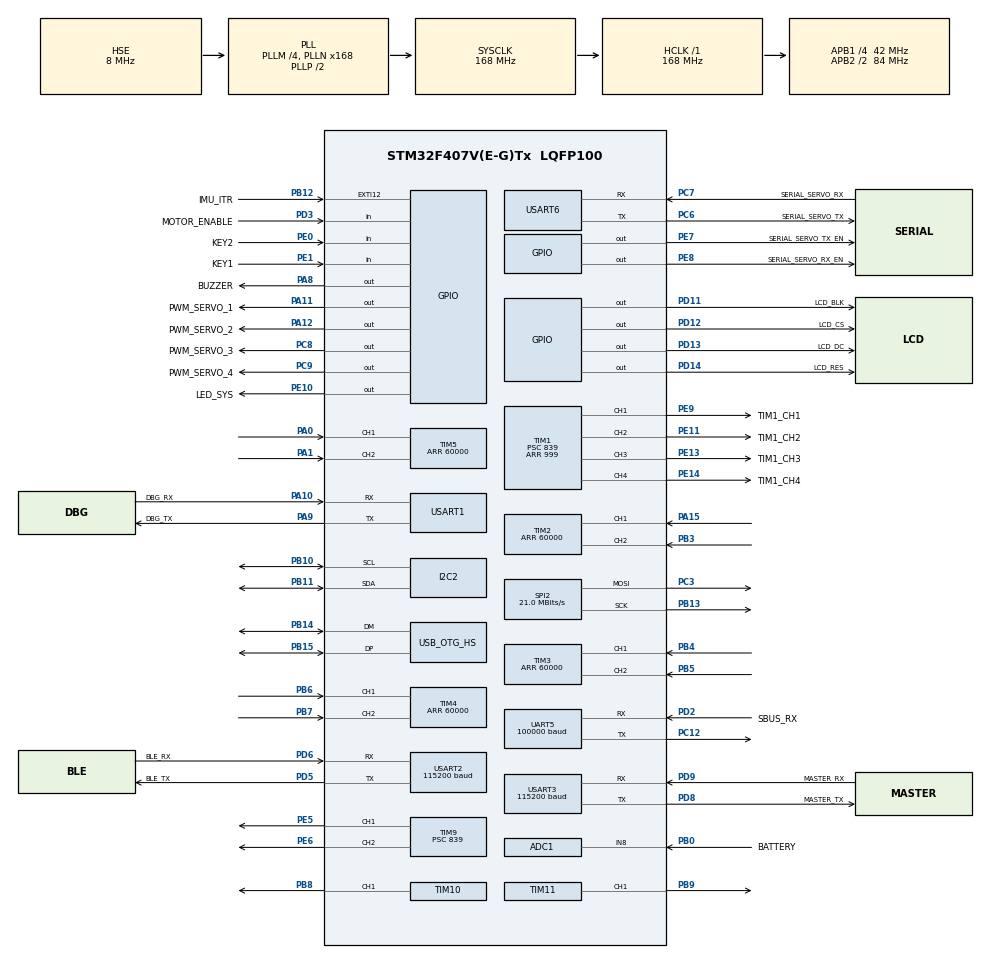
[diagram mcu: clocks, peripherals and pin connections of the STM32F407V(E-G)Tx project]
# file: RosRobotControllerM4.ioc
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ADC1.Channel-4\#ChannelRegularConversion=ADC_CHANNEL_VREFINT
ADC1.Channel-5\#ChannelRegularConversion=ADC_CHANNEL_8
ADC1.ClockPrescaler=ADC_CLOCK_SYNC_PCLK_DIV8
ADC1.ContinuousConvMode=DISABLE
ADC1.EOCSelection=ADC_EOC_SEQ_CONV
ADC1.NbrOfConversion=2
ADC1.NbrOfConversionFlag=1
ADC1.Rank-4\#ChannelRegularConversion=1
ADC1.Rank-5\#ChannelRegularConversion=2
ADC1.SamplingTime-4\#ChannelRegularConversion=ADC_SAMPLETIME_480CYCLES
ADC1.SamplingTime-5\#ChannelRegularConversion=ADC_SAMPLETIME_480CYCLES
ADC1.master=1
Dma.ADC1.7.Direction=DMA_PERIPH_TO_MEMORY
Dma.ADC1.7.FIFOMode=DMA_FIFOMODE_DISABLE
Dma.ADC1.7.Instance=DMA2_Stream0
Dma.ADC1.7.MemDataAlignment=DMA_MDATAALIGN_HALFWORD
Dma.ADC1.7.MemInc=DMA_MINC_ENABLE
Dma.ADC1.7.Mode=DMA_CIRCULAR
Dma.ADC1.7.PeriphDataAlignment=DMA_PDATAALIGN_HALFWORD
Dma.ADC1.7.PeriphInc=DMA_PINC_DISABLE
Dma.ADC1.7.Priority=DMA_PRIORITY_LOW
Dma.I2C2_RX.0.Direction=DMA_PERIPH_TO_MEMORY
Dma.I2C2_RX.0.FIFOMode=DMA_FIFOMODE_DISABLE
Dma.I2C2_RX.0.Instance=DMA1_Stream2
Dma.I2C2_RX.0.MemDataAlignment=DMA_MDATAALIGN_BYTE
Dma.I2C2_RX.0.MemInc=DMA_MINC_ENABLE
Dma.I2C2_RX.0.Mode=DMA_NORMAL
Dma.I2C2_RX.0.PeriphDataAlignment=DMA_PDATAALIGN_BYTE
Dma.I2C2_RX.0.PeriphInc=DMA_PINC_DISABLE
Dma.I2C2_RX.0.Priority=DMA_PRIORITY_VERY_HIGH
Dma.I2C2_TX.1.Direction=DMA_MEMORY_TO_PERIPH
Dma.I2C2_TX.1.FIFOMode=DMA_FIFOMODE_DISABLE
Dma.I2C2_TX.1.Instance=DMA1_Stream7
Dma.I2C2_TX.1.MemDataAlignment=DMA_MDATAALIGN_BYTE
Dma.I2C2_TX.1.MemInc=DMA_MINC_ENABLE
Dma.I2C2_TX.1.Mode=DMA_NORMAL
Dma.I2C2_TX.1.PeriphDataAlignment=DMA_PDATAALIGN_BYTE
Dma.I2C2_TX.1.PeriphInc=DMA_PINC_DISABLE
Dma.I2C2_TX.1.Priority=DMA_PRIORITY_VERY_HIGH
Dma.Request0=I2C2_RX
Dma.Request1=I2C2_TX
Dma.Request2=USART3_RX
Dma.Request3=USART3_TX
Dma.Request4=SPI2_TX
Dma.Request5=USART2_RX
Dma.Request6=USART2_TX
Dma.Request7=ADC1
Dma.Request8=UART5_RX
Dma.SPI2_TX.4.Direction=DMA_MEMORY_TO_PERIPH
Dma.SPI2_TX.4.FIFOMode=DMA_FIFOMODE_DISABLE
Dma.SPI2_TX.4.Instance=DMA1_Stream4
Dma.SPI2_TX.4.MemDataAlignment=DMA_MDATAALIGN_BYTE
Dma.SPI2_TX.4.MemInc=DMA_MINC_ENABLE
Dma.SPI2_TX.4.Mode=DMA_NORMAL
Dma.SPI2_TX.4.PeriphDataAlignment=DMA_PDATAALIGN_BYTE
Dma.SPI2_TX.4.PeriphInc=DMA_PINC_DISABLE
Dma.SPI2_TX.4.Priority=DMA_PRIORITY_LOW
Dma.UART5_RX.8.Direction=DMA_PERIPH_TO_MEMORY
Dma.UART5_RX.8.FIFOMode=DMA_FIFOMODE_DISABLE
Dma.UART5_RX.8.Instance=DMA1_Stream0
Dma.UART5_RX.8.MemDataAlignment=DMA_MDATAALIGN_BYTE
Dma.UART5_RX.8.MemInc=DMA_MINC_ENABLE
Dma.UART5_RX.8.Mode=DMA_NORMAL
Dma.UART5_RX.8.PeriphDataAlignment=DMA_PDATAALIGN_BYTE
Dma.UART5_RX.8.PeriphInc=DMA_PINC_DISABLE
Dma.UART5_RX.8.Priority=DMA_PRIORITY_MEDIUM
Dma.USART2_RX.5.Direction=DMA_PERIPH_TO_MEMORY
Dma.USART2_RX.5.FIFOMode=DMA_FIFOMODE_DISABLE
Dma.USART2_RX.5.Instance=DMA1_Stream5
Dma.USART2_RX.5.MemDataAlignment=DMA_MDATAALIGN_BYTE
Dma.USART2_RX.5.MemInc=DMA_MINC_ENABLE
Dma.USART2_RX.5.Mode=DMA_NORMAL
Dma.USART2_RX.5.PeriphDataAlignment=DMA_PDATAALIGN_BYTE
Dma.USART2_RX.5.PeriphInc=DMA_PINC_DISABLE
Dma.USART2_RX.5.Priority=DMA_PRIORITY_MEDIUM
Dma.USART2_TX.6.Direction=DMA_MEMORY_TO_PERIPH
Dma.USART2_TX.6.FIFOMode=DMA_FIFOMODE_DISABLE
Dma.USART2_TX.6.Instance=DMA1_Stream6
Dma.USART2_TX.6.MemDataAlignment=DMA_MDATAALIGN_BYTE
Dma.USART2_TX.6.MemInc=DMA_MINC_ENABLE
Dma.USART2_TX.6.Mode=DMA_NORMAL
Dma.USART2_TX.6.PeriphDataAlignment=DMA_PDATAALIGN_BYTE
Dma.USART2_TX.6.PeriphInc=DMA_PINC_DISABLE
Dma.USART2_TX.6.Priority=DMA_PRIORITY_MEDIUM
Dma.USART3_RX.2.Direction=DMA_PERIPH_TO_MEMORY
Dma.USART3_RX.2.FIFOMode=DMA_FIFOMODE_DISABLE
Dma.USART3_RX.2.Instance=DMA1_Stream1
Dma.USART3_RX.2.MemDataAlignment=DMA_MDATAALIGN_BYTE
Dma.USART3_RX.2.MemInc=DMA_MINC_ENABLE
Dma.USART3_RX.2.Mode=DMA_CIRCULAR
Dma.USART3_RX.2.PeriphDataAlignment=DMA_PDATAALIGN_BYTE
Dma.USART3_RX.2.PeriphInc=DMA_PINC_DISABLE
Dma.USART3_RX.2.Priority=DMA_PRIORITY_HIGH
Dma.USART3_TX.3.Direction=DMA_MEMORY_TO_PERIPH
Dma.USART3_TX.3.FIFOMode=DMA_FIFOMODE_DISABLE
Dma.USART3_TX.3.Instance=DMA1_Stream3
Dma.USART3_TX.3.MemDataAlignment=DMA_MDATAALIGN_BYTE
Dma.USART3_TX.3.MemInc=DMA_MINC_ENABLE
Dma.USART3_TX.3.Mode=DMA_NORMAL
Dma.USART3_TX.3.PeriphDataAlignment=DMA_PDATAALIGN_BYTE
Dma.USART3_TX.3.PeriphInc=DMA_PINC_DISABLE
Dma.USART3_TX.3.Priority=DMA_PRIORITY_HIGH
FREERTOS.BinarySemaphores01=packet_tx_idle,Static,packet_tx_ControlBlock;packet_rx_not_empty,Static,packet_rx_not_emptyControlBlock;mpu6050_data_ready,Static,mpu6050_data_readyControlBlock;sbus_data_ready_01_,Static,sbus_data_ready_01_ControlBlock;spi_tx_finished,Static,spi_tx_finishedControlBlock;bluetooth_tx_idle,Static,bluetooth_tx_idleControlBlock;serial_servo_rx_complete,Dynamic,NULL
FREERTOS.Events01=sbus_data_ready_event_,Static,sbus_data_ready_event_ControlBlock
FREERTOS.INCLUDE_vTaskCleanUpResources=1
FREERTOS.INCLUDE_xEventGroupSetBitFromISR=1
FREERTOS.Queues01=packet_tx_queue,64,void*,0,Static,packet_tx_queueBuffer,packet_tx_queueControlBlock;lvgl_event_queue,16,32,1,Dynamic,NULL,NULL;moving_ctrl_queue,32,char,0,Static,moving_ctrl_queueBuffer,moving_ctrl_queueControlBlock;bluetooth_tx_queue,8,8,1,Dynamic,NULL,NULL
FREERTOS.Tasks01=defaultTask,16,256,StartDefaultTask,Default,NULL,Dynamic,NULL,NULL;imu_task,24,256,imu_task_entry,As weak,NULL,Dynamic,NULL,NULL;packet_tx_task,24,256,packet_tx_task_entry,As weak,NULL,Dynamic,NULL,NULL;packet_rx_task,32,256,packet_rx_task_entry,As weak,NULL,Dynamic,NULL,NULL;sbus_rx_task,24,256,sbus_rx_task_entry,As weak,NULL,Dynamic,NULL,NULL;gui_task,8,1500,gui_task_entry,As weak,NULL,Dynamic,NULL,NULL;app_task,24,512,app_task_entry,As weak,NULL,Dynamic,NULL,NULL;bluetooth_task,24,128,bluetooth_task_entry,As weak,NULL,Dynamic,NULL,NULL
FREERTOS.Timers01=button_timer,button_timer_callback,osTimerPeriodic,As weak,NULL,Static,button_timerControlBlock;led_timer,led_timer_callback,osTimerPeriodic,As weak,NULL,Static,led_timerControlBlock;lvgl_timer,lvgl_timer_callback,osTimerPeriodic,As weak,NULL,Static,lvgl_timerControlBlock;buzzer_timer,buzzer_timer_callback,osTimerPeriodic,As weak,NULL,Static,buzzer_timerControlBlock;battery_check_timer,battery_check_timer_callback,osTimerPeriodic,As weak,NULL,Static,battery_check_timerControlBlock
FREERTOS.configENABLE_FPU=1
FREERTOS.configTIMER_QUEUE_LENGTH=10
FREERTOS.configTIMER_TASK_STACK_DEPTH=6144
FREERTOS.configTOTAL_HEAP_SIZE=20480
FREERTOS.configUSE_IDLE_HOOK=1
FREERTOS.configUSE_NEWLIB_REENTRANT=0
FREERTOS.configUSE_TICK_HOOK=1
I2C2.DutyCycle=I2C_DUTYCYCLE_16_9
I2C2.I2C_Mode=I2C_Fast
Mcu.Family=STM32F4
Mcu.Name=STM32F407V(E-G)Tx
Mcu.Package=LQFP100
NVIC.DMA1_Stream0_IRQn=true\:5\:0\:false\:true\:true\:1\:true\:true\:true\:true
NVIC.DMA1_Stream1_IRQn=true\:5\:0\:false\:true\:true\:2\:true\:false\:true\:true
NVIC.DMA1_Stream2_IRQn=true\:5\:0\:false\:true\:true\:3\:true\:false\:true\:true
NVIC.DMA1_Stream3_IRQn=true\:5\:0\:false\:true\:true\:4\:true\:false\:true\:true
NVIC.DMA1_Stream4_IRQn=true\:5\:0\:false\:true\:true\:5\:true\:true\:true\:true
NVIC.DMA1_Stream5_IRQn=true\:5\:0\:false\:true\:true\:6\:true\:true\:true\:true
NVIC.DMA1_Stream6_IRQn=true\:5\:0\:false\:true\:true\:7\:true\:true\:true\:true
NVIC.DMA1_Stream7_IRQn=true\:5\:0\:false\:true\:true\:16\:true\:false\:true\:true
NVIC.EXTI15_10_IRQn=true\:5\:0\:false\:true\:true\:13\:true\:true\:false\:true
NVIC.OTG_HS_IRQn=true\:5\:0\:false\:true\:true\:21\:true\:false\:true\:true
NVIC.PriorityGroup=NVIC_PRIORITYGROUP_4
NVIC.TIM2_IRQn=true\:5\:0\:false\:true\:true\:8\:true\:true\:false\:true
NVIC.TIM3_IRQn=true\:5\:0\:false\:true\:true\:9\:true\:true\:false\:true
NVIC.TIM4_IRQn=true\:5\:0\:false\:true\:true\:10\:true\:true\:false\:true
NVIC.TIM5_IRQn=true\:5\:0\:false\:true\:true\:17\:true\:true\:false\:true
NVIC.TIM7_IRQn=true\:5\:0\:false\:true\:true\:19\:true\:true\:false\:true
NVIC.TIM8_BRK_TIM12_IRQn=true\:5\:0\:false\:true\:true\:14\:true\:true\:false\:true
NVIC.TIM8_TRG_COM_TIM14_IRQn=true\:0\:0\:false\:false\:true\:false\:false\:true\:true
NVIC.TIM8_UP_TIM13_IRQn=true\:5\:0\:false\:true\:true\:15\:true\:true\:false\:true
NVIC.TimeBase=TIM8_TRG_COM_TIM14_IRQn
NVIC.TimeBaseIP=TIM14
NVIC.UART5_IRQn=true\:5\:0\:true\:true\:true\:18\:true\:true\:true\:true
NVIC.USART2_IRQn=true\:5\:0\:false\:true\:true\:11\:true\:true\:true\:true
NVIC.USART3_IRQn=true\:5\:0\:false\:true\:true\:12\:true\:true\:true\:true
NVIC.USART6_IRQn=true\:5\:0\:false\:true\:true\:20\:true\:true\:false\:true
PA0-WKUP.GPIO_PuPd=GPIO_PULLUP
PA0-WKUP.GPIO_Speed=GPIO_SPEED_FREQ_VERY_HIGH
PA0-WKUP.Signal=S_TIM5_CH1
PA1.GPIO_PuPd=GPIO_PULLUP
PA1.GPIO_Speed=GPIO_SPEED_FREQ_VERY_HIGH
PA1.Signal=S_TIM5_CH2
PA10.GPIO_Label=DBG_RX
PA10.Mode=Asynchronous
PA10.Signal=USART1_RX
PA11.GPIO_Label=PWM_SERVO_1
PA11.GPIO_Speed=GPIO_SPEED_FREQ_HIGH
PA11.PinState=GPIO_PIN_RESET
PA11.Signal=GPIO_Output
PA12.GPIO_Label=PWM_SERVO_2
PA12.GPIO_Speed=GPIO_SPEED_FREQ_HIGH
PA12.Signal=GPIO_Output
PA13.Signal=SYS_JTMS-SWDIO
PA14.Signal=SYS_JTCK-SWCLK
PA15.GPIO_PuPd=GPIO_PULLUP
PA15.GPIO_Speed=GPIO_SPEED_FREQ_VERY_HIGH
PA15.Signal=S_TIM2_CH1_ETR
PA8.GPIO_Label=BUZZER
PA8.GPIO_Speed=GPIO_SPEED_FREQ_VERY_HIGH
PA8.PinState=GPIO_PIN_RESET
PA8.Signal=GPIO_Output
PA9.GPIO_Label=DBG_TX
PA9.Mode=Asynchronous
PA9.Signal=USART1_TX
PB0.GPIO_Label=BATTERY
PB0.Signal=ADCx_IN8
PB10.GPIO_Pu=GPIO_PULLUP
PB10.Mode=I2C
PB10.Signal=I2C2_SCL
PB11.GPIO_Pu=GPIO_PULLUP
PB11.Mode=I2C
PB11.Signal=I2C2_SDA
PB12.GPIO_Label=IMU_ITR
PB12.GPIO_ModeDefaultEXTI=GPIO_MODE_IT_RISING
PB12.GPIO_PuPd=GPIO_PULLDOWN
PB12.Signal=GPXTI12
PB13.Mode=TX_Only_Simplex_Unidirect_Master
PB13.Signal=SPI2_SCK
PB14.Mode=Host_FS
PB14.Signal=USB_OTG_HS_DM
PB15.Mode=Host_FS
PB15.Signal=USB_OTG_HS_DP
PB3.GPIO_PuPd=GPIO_PULLUP
PB3.GPIO_Speed=GPIO_SPEED_FREQ_VERY_HIGH
PB3.Signal=S_TIM2_CH2
PB4.GPIO_Speed=GPIO_SPEED_FREQ_VERY_HIGH
PB4.Signal=S_TIM3_CH1
PB5.GPIO_Speed=GPIO_SPEED_FREQ_VERY_HIGH
PB5.Signal=S_TIM3_CH2
PB6.Signal=S_TIM4_CH1
PB7.Signal=S_TIM4_CH2
PB8.Signal=S_TIM10_CH1
PB9.GPIO_Speed=GPIO_SPEED_FREQ_HIGH
PB9.Signal=S_TIM11_CH1
PC12.Mode=Asynchronous
PC12.Signal=UART5_TX
PC3.Mode=TX_Only_Simplex_Unidirect_Master
PC3.Signal=SPI2_MOSI
PC6.GPIO_Label=SERIAL_SERVO_TX
PC6.GPIO_PuPd=GPIO_PULLUP
PC6.Mode=Asynchronous
PC6.Signal=USART6_TX
PC7.GPIO_Label=SERIAL_SERVO_RX
PC7.GPIO_PuPd=GPIO_PULLUP
PC7.Mode=Asynchronous
PC7.Signal=USART6_RX
PC8.GPIO_Label=PWM_SERVO_3
PC8.GPIO_Speed=GPIO_SPEED_FREQ_LOW
PC8.PinState=GPIO_PIN_SET
PC8.Signal=GPIO_Output
PC9.GPIO_Label=PWM_SERVO_4
PC9.GPIO_Speed=GPIO_SPEED_FREQ_HIGH
PC9.Signal=GPIO_Output
PD11.GPIO_Label=LCD_BLK
PD11.GPIO_Speed=GPIO_SPEED_FREQ_VERY_HIGH
PD11.PinState=GPIO_PIN_SET
PD11.Signal=GPIO_Output
PD12.GPIO_Label=LCD_CS
PD12.GPIO_Speed=GPIO_SPEED_FREQ_VERY_HIGH
PD12.PinState=GPIO_PIN_SET
PD12.Signal=GPIO_Output
PD13.GPIO_Label=LCD_DC
PD13.GPIO_Speed=GPIO_SPEED_FREQ_VERY_HIGH
PD13.Signal=GPIO_Output
PD14.GPIO_Label=LCD_RES
PD14.GPIO_Speed=GPIO_SPEED_FREQ_VERY_HIGH
PD14.PinState=GPIO_PIN_SET
PD14.Signal=GPIO_Output
PD2.GPIO_Label=SBUS_RX
PD2.Mode=Asynchronous
PD2.Signal=UART5_RX
PD3.GPIO_Label=MOTOR_ENABLE
PD3.Signal=GPIO_Input
PD5.GPIO_Label=BLE_TX
PD5.Mode=Asynchronous
PD5.Signal=USART2_TX
PD6.GPIO_Label=BLE_RX
PD6.Mode=Asynchronous
PD6.Signal=USART2_RX
PD8.GPIO_Label=MASTER_TX
PD8.GPIO_PuPd=GPIO_NOPULL
PD8.Mode=Asynchronous
PD8.Signal=USART3_TX
PD9.GPIO_Label=MASTER_RX
PD9.GPIO_PuPd=GPIO_NOPULL
PD9.Mode=Asynchronous
PD9.Signal=USART3_RX
PE0.GPIO_Label=KEY2
PE0.Signal=GPIO_Input
PE1.GPIO_Label=KEY1
PE1.Signal=GPIO_Input
PE10.GPIO_Label=LED_SYS
PE10.GPIO_Speed=GPIO_SPEED_FREQ_MEDIUM
PE10.PinState=GPIO_PIN_RESET
PE10.Signal=GPIO_Output
PE11.GPIO_Label=TIM1_CH2
PE11.GPIO_Speed=GPIO_SPEED_FREQ_HIGH
PE11.Signal=S_TIM1_CH2
PE13.GPIO_Label=TIM1_CH3
PE13.GPIO_Speed=GPIO_SPEED_FREQ_HIGH
PE13.Signal=S_TIM1_CH3
PE14.GPIO_Label=TIM1_CH4
PE14.GPIO_Speed=GPIO_SPEED_FREQ_HIGH
PE14.Signal=S_TIM1_CH4
PE5.Signal=S_TIM9_CH1
PE6.Signal=S_TIM9_CH2
PE7.GPIO_Label=SERIAL_SERVO_TX_EN
PE7.GPIO_PuPd=GPIO_NOPULL
PE7.GPIO_Speed=GPIO_SPEED_FREQ_VERY_HIGH
PE7.PinState=GPIO_PIN_SET
PE7.Signal=GPIO_Output
PE8.GPIO_Label=SERIAL_SERVO_RX_EN
PE8.GPIO_Speed=GPIO_SPEED_FREQ_VERY_HIGH
PE8.PinState=GPIO_PIN_SET
PE8.Signal=GPIO_Output
PE9.GPIO_Label=TIM1_CH1
PE9.GPIO_Speed=GPIO_SPEED_FREQ_HIGH
PE9.Signal=S_TIM1_CH1
PH0-OSC_IN.Mode=HSE-External-Oscillator
PH0-OSC_IN.Signal=RCC_OSC_IN
PH1-OSC_OUT.Mode=HSE-External-Oscillator
PH1-OSC_OUT.Signal=RCC_OSC_OUT
ProjectManager.HeapSize=0x200
ProjectManager.StackSize=0x600
ProjectManager.TargetToolchain=MDK-ARM V5.32
RCC.48MHZClocksFreq_Value=48000000
RCC.AHBFreq_Value=168000000
RCC.APB1CLKDivider=RCC_HCLK_DIV4
RCC.APB1Freq_Value=42000000
RCC.APB1TimFreq_Value=84000000
RCC.APB2CLKDivider=RCC_HCLK_DIV2
RCC.APB2Freq_Value=84000000
RCC.APB2TimFreq_Value=168000000
RCC.CortexFreq_Value=168000000
RCC.EnbaleCSS=true
RCC.HCLKFreq_Value=168000000
RCC.HSE_VALUE=8000000
RCC.HSI_VALUE=16000000
RCC.LSE_VALUE=32768
RCC.PLLM=4
RCC.PLLN=168
RCC.PLLQ=7
RCC.SYSCLKFreq_VALUE=168000000
RCC.SYSCLKSource=RCC_SYSCLKSOURCE_PLLCLK
RCC.VCOOutputFreq_Value=336000000
SH.ADCx_IN8.0=ADC1_IN8,IN8
SH.S_TIM10_CH1.0=TIM10_CH1,PWM Generation1 CH1
SH.S_TIM11_CH1.0=TIM11_CH1,PWM Generation1 CH1
SH.S_TIM1_CH1.0=TIM1_CH1,PWM Generation1 CH1
SH.S_TIM1_CH2.0=TIM1_CH2,PWM Generation2 CH2
SH.S_TIM1_CH3.0=TIM1_CH3,PWM Generation3 CH3
SH.S_TIM1_CH4.0=TIM1_CH4,PWM Generation4 CH4
SH.S_TIM2_CH1_ETR.0=TIM2_CH1,Encoder_Interface
SH.S_TIM2_CH2.0=TIM2_CH2,Encoder_Interface
SH.S_TIM3_CH1.0=TIM3_CH1,Encoder_Interface
SH.S_TIM3_CH2.0=TIM3_CH2,Encoder_Interface
SH.S_TIM4_CH1.0=TIM4_CH1,Encoder_Interface
SH.S_TIM4_CH2.0=TIM4_CH2,Encoder_Interface
SH.S_TIM5_CH1.0=TIM5_CH1,Encoder_Interface
SH.S_TIM5_CH2.0=TIM5_CH2,Encoder_Interface
SH.S_TIM9_CH1.0=TIM9_CH1,PWM Generation1 CH1
SH.S_TIM9_CH2.0=TIM9_CH2,PWM Generation2 CH2
SPI2.BaudRatePrescaler=SPI_BAUDRATEPRESCALER_2
SPI2.CLKPhase=SPI_PHASE_1EDGE
SPI2.CLKPolarity=SPI_POLARITY_LOW
SPI2.CalculateBaudRate=21.0 MBits/s
SPI2.DataSize=SPI_DATASIZE_8BIT
SPI2.Direction=SPI_DIRECTION_2LINES
SPI2.FirstBit=SPI_FIRSTBIT_MSB
SPI2.Mode=SPI_MODE_MASTER
SPI2.VirtualType=VM_MASTER
TIM1.AutoReloadPreload=TIM_AUTORELOAD_PRELOAD_ENABLE
TIM1.Channel-PWM\ Generation1\ CH1=TIM_CHANNEL_1
TIM1.Channel-PWM\ Generation2\ CH2=TIM_CHANNEL_2
TIM1.Channel-PWM\ Generation3\ CH3=TIM_CHANNEL_3
TIM1.Channel-PWM\ Generation4\ CH4=TIM_CHANNEL_4
TIM1.OCFastMode_PWM-PWM\ Generation1\ CH1=TIM_OCFAST_ENABLE
TIM1.OCFastMode_PWM-PWM\ Generation2\ CH2=TIM_OCFAST_ENABLE
TIM1.OCFastMode_PWM-PWM\ Generation3\ CH3=TIM_OCFAST_ENABLE
TIM1.OCFastMode_PWM-PWM\ Generation4\ CH4=TIM_OCFAST_ENABLE
TIM1.Period=999
TIM1.Prescaler=839
TIM1.Pulse-PWM\ Generation1\ CH1=0
TIM1.Pulse-PWM\ Generation2\ CH2=0
TIM1.Pulse-PWM\ Generation3\ CH3=0
TIM1.Pulse-PWM\ Generation4\ CH4=0
TIM10.AutoReloadPreload=TIM_AUTORELOAD_PRELOAD_ENABLE
TIM10.Channel=TIM_CHANNEL_1
TIM10.OCFastMode_PWM=TIM_OCFAST_ENABLE
TIM10.Period=999
TIM10.Prescaler=839
TIM11.AutoReloadPreload=TIM_AUTORELOAD_PRELOAD_ENABLE
TIM11.Channel=TIM_CHANNEL_1
TIM11.OCFastMode_PWM=TIM_OCFAST_ENABLE
TIM11.Period=999
TIM11.Prescaler=839
TIM11.Pulse=0
TIM12.AutoReloadPreload=TIM_AUTORELOAD_PRELOAD_ENABLE
TIM12.Channel-Output\ Compare1\ No\ Output=TIM_CHANNEL_1
TIM12.OC1Preload=ENABLE
TIM12.OCMode_1=TIM_OCMODE_TIMING
TIM12.Period=99
TIM12.Prescaler=839
TIM12.Pulse-Output\ Compare1\ No\ Output=50
TIM13.AutoReloadPreload=TIM_AUTORELOAD_PRELOAD_ENABLE
TIM13.Channel=TIM_CHANNEL_1
TIM13.OC1Preload=ENABLE
TIM13.Period=4999
TIM13.Prescaler=83
TIM13.Pulse=0
TIM2.AutoReloadPreload=TIM_AUTORELOAD_PRELOAD_ENABLE
TIM2.EncoderMode=TIM_ENCODERMODE_TI12
TIM2.Period=60000
TIM3.AutoReloadPreload=TIM_AUTORELOAD_PRELOAD_ENABLE
TIM3.EncoderMode=TIM_ENCODERMODE_TI12
TIM3.Period=60000
TIM4.AutoReloadPreload=TIM_AUTORELOAD_PRELOAD_ENABLE
TIM4.EncoderMode=TIM_ENCODERMODE_TI12
TIM4.Period=60000
TIM5.AutoReloadPreload=TIM_AUTORELOAD_PRELOAD_ENABLE
TIM5.EncoderMode=TIM_ENCODERMODE_TI12
TIM5.Period=60000
TIM7.AutoReloadPreload=TIM_AUTORELOAD_PRELOAD_ENABLE
TIM7.Period=9999
TIM7.Prescaler=83
TIM9.AutoReloadPreload=TIM_AUTORELOAD_PRELOAD_ENABLE
TIM9.Channel-PWM\ Generation1\ CH1=TIM_CHANNEL_1
TIM9.Channel-PWM\ Generation2\ CH2=TIM_CHANNEL_2
TIM9.OCFastMode_PWM-PWM\ Generation1\ CH1=TIM_OCFAST_ENABLE
TIM9.OCFastMode_PWM-PWM\ Generation2\ CH2=TIM_OCFAST_ENABLE
TIM9.Period=999
TIM9.Prescaler=839
UART5.BaudRate=100000
UART5.Mode=MODE_RX
UART5.Parity=PARITY_EVEN
UART5.StopBits=UART_STOPBITS_2
UART5.VirtualMode=Asynchronous
UART5.WordLength=WORDLENGTH_9B
USART1.VirtualMode=VM_ASYNC
USART2.BaudRate=115200
USART2.VirtualMode=VM_ASYNC
USART3.BaudRate=115200
USART3.VirtualMode=VM_ASYNC
USART6.VirtualMode=VM_ASYNC
USB_HOST.USBH_DEBUG_LEVEL-HID_HS=0
USB_HOST.USBH_HandleTypeDef-HID_HS=hUsbHostHS
USB_HOST.USBH_KEEP_CFG_DESCRIPTOR-HID_HS=1
USB_HOST.USBH_MAX_DATA_BUFFER-HID_HS=512
USB_HOST.USBH_MAX_NUM_CONFIGURATION-HID_HS=2
USB_HOST.USBH_MAX_NUM_ENDPOINTS-HID_HS=2
USB_HOST.USBH_MAX_NUM_INTERFACES-HID_HS=2
USB_HOST.USBH_MAX_NUM_SUPPORTED_CLASS-HID_HS=1
USB_HOST.USBH_MAX_SIZE_CONFIGURATION-HID_HS=512
USB_HOST.USBH_PROCESS_PRIO-HID_HS=osPriorityNormal
USB_HOST.USBH_PROCESS_STACK_SIZE-HID_HS=2048
USB_HOST.VirtualModeHS=Hid
USB_OTG_HS.Sof_enable-Host_FS=DISABLE
USB_OTG_HS.VirtualMode-Host_FS=Host_FS
USB_OTG_HS.dma_enable-Host_FS=DISABLE
VP_ADC1_Vref_Input.Mode=IN-Vrefint
VP_CRC_VS_CRC.Mode=CRC_Activate
VP_FREERTOS_VS_CMSIS_V2.Mode=CMSIS_V2
VP_SYS_VS_tim14.Mode=TIM14
VP_TIM10_VS_ClockSourceINT.Mode=Enable_Timer
VP_TIM11_VS_ClockSourceINT.Mode=Enable_Timer
VP_TIM12_VS_ClockSourceINT.Mode=Internal
VP_TIM12_VS_no_output1.Mode=Output Compare1 No Output
VP_TIM13_VS_ClockSourceINT.Mode=Enable_Timer
VP_TIM13_VS_no_output1.Mode=Output Compare1 No Output
VP_TIM1_VS_ClockSourceINT.Mode=Internal
VP_TIM7_VS_ClockSourceINT.Mode=Enable_Timer
VP_TIM9_VS_ClockSourceINT.Mode=Internal
VP_USB_HOST_VS_USB_HOST_HID_HS.Mode=HID_HS
board=custom

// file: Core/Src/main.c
/* USER CODE BEGIN Header */
/**
  ******************************************************************************
  * @file           : main.c
  * @brief          : Main program body
  ******************************************************************************
  * @attention
  *
  * <h2><center>&copy; Copyright (c) 2023 STMicroelectronics.
  * All rights reserved.</center></h2>
  *
  * This software component is licensed by ST under BSD 3-Clause license,
  * the "License"; You may not use this file except in compliance with the
  * License. You may obtain a copy of the License at:
  *                        opensource.org/licenses/BSD-3-Clause
  *
  ******************************************************************************
  */
/* USER CODE END Header */
#include "main.h"
#include "cmsis_os.h"
#include "adc.h"
#include "crc.h"
#include "dma.h"
#include "i2c.h"
#include "spi.h"
#include "tim.h"
#include "usart.h"
#include "usb_host.h"
#include "gpio.h"

/* USER CODE BEGIN Includes */
#include "lwmem_porting.h"
#include "log.h"
#include <stdio.h>
/* USER CODE END Includes */

void SystemClock_Config(void);
void MX_FREERTOS_Init(void);
static void MX_NVIC_Init(void);
/* USER CODE BEGIN PFP */
void packet_init(void);
void i2c_scan(void)
{
    uint8_t data;
    printf("   ");
    for(int i = 0; i < 0x0F; ++i) {
        printf("0%1X ", i);
    }
    printf("\r\n");
    for(uint8_t i = 0; i < 0x07; ++i) {
        printf("%1X0 ", i);
        for(uint8_t j = 0; j < 0x0F; ++j) {
            uint8_t addr = (i << 4) | j;
            uint8_t re = HAL_I2C_Mem_Read(&hi2c2, addr << 1, 0, I2C_MEMADD_SIZE_8BIT, &data, 1, 0xff);
            if(re == HAL_OK) {
                printf("%02X ", addr);
            } else {
                printf("__ ");
            }
        }
        printf("\r\n");
    }
}
/* USER CODE END PFP */

/* USER CODE BEGIN 0 */
// extern USBH_StatusTypeDef USBH_HID_Joystick_Decode(USBH_HandleTypeDef *phost);
// extern USBH_HandleTypeDef hUsbHostHS;

/* USER CODE END 0 */

int main(void)
{
  /* USER CODE BEGIN 1 */
  LOG_INIT();
  // SEGGER_RTT_Init();
  lwmem_assignmem(lwmem_regions);  /* 动态内存初始化 */
  /* USER CODE END 1 */

  /* MCU Configuration--------------------------------------------------------*/

  /* Reset of all peripherals, Initializes the Flash interface and the Systick. */
  HAL_Init();

  /* Configure the system clock */
  SystemClock_Config();

  /* USER CODE BEGIN SysInit */
    __HAL_RCC_I2C1_CLK_ENABLE();
	__HAL_RCC_UART5_CLK_ENABLE();
    __HAL_RCC_DMA1_CLK_ENABLE();
  /* USER CODE END SysInit */

  /* Initialize all configured peripherals */
  MX_GPIO_Init();
  MX_DMA_Init();
  MX_USART1_UART_Init();
  MX_SPI2_Init();
  MX_TIM1_Init();
  MX_TIM2_Init();
  MX_TIM5_Init();
  MX_TIM9_Init();
  MX_TIM10_Init();
  MX_TIM11_Init();
  MX_I2C2_Init();
  MX_UART5_Init();
  MX_USART2_UART_Init();
  MX_USART3_UART_Init();
  MX_USART6_UART_Init();
  MX_TIM7_Init();
  MX_TIM3_Init();
  MX_TIM4_Init();
  MX_TIM13_Init();
  MX_CRC_Init();
  MX_TIM12_Init();
  MX_ADC1_Init();

  /* Initialize interrupts */
  MX_NVIC_Init();
  /* USER CODE BEGIN 2 */
  LOG_DEBUG("Start...\r\n");
  packet_init();
  //i2c_scan();
  /* USER CODE END 2 */

  /* Init scheduler */
  osKernelInitialize();  /* Call init function for freertos objects (in freertos.c) */
  MX_FREERTOS_Init();

  /* Start scheduler */
  osKernelStart();
  /* We should never get here as control is now taken by the scheduler */
  /* Infinite loop */
    while (1) {

    }
}

void SystemClock_Config(void)
{
  RCC_OscInitTypeDef RCC_OscInitStruct = {0};
  RCC_ClkInitTypeDef RCC_ClkInitStruct = {0};

  /** Configure the main internal regulator output voltage
  */
  __HAL_RCC_PWR_CLK_ENABLE();
  __HAL_PWR_VOLTAGESCALING_CONFIG(PWR_REGULATOR_VOLTAGE_SCALE1);

  /** Initializes the RCC Oscillators according to the specified parameters
  * in the RCC_OscInitTypeDef structure.
  */
  RCC_OscInitStruct.OscillatorType = RCC_OSCILLATORTYPE_HSE;
  RCC_OscInitStruct.HSEState = RCC_HSE_ON;
  RCC_OscInitStruct.PLL.PLLState = RCC_PLL_ON;
  RCC_OscInitStruct.PLL.PLLSource = RCC_PLLSOURCE_HSE;
  RCC_OscInitStruct.PLL.PLLM = 4;
  RCC_OscInitStruct.PLL.PLLN = 168;
  RCC_OscInitStruct.PLL.PLLP = RCC_PLLP_DIV2;
  RCC_OscInitStruct.PLL.PLLQ = 7;
  if (HAL_RCC_OscConfig(&RCC_OscInitStruct) != HAL_OK)
  {
    Error_Handler();
  }

  /** Initializes the CPU, AHB and APB buses clocks
  */
  RCC_ClkInitStruct.ClockType = RCC_CLOCKTYPE_HCLK|RCC_CLOCKTYPE_SYSCLK
                              |RCC_CLOCKTYPE_PCLK1|RCC_CLOCKTYPE_PCLK2;
  RCC_ClkInitStruct.SYSCLKSource = RCC_SYSCLKSOURCE_PLLCLK;
  RCC_ClkInitStruct.AHBCLKDivider = RCC_SYSCLK_DIV1;
  RCC_ClkInitStruct.APB1CLKDivider = RCC_HCLK_DIV4;
  RCC_ClkInitStruct.APB2CLKDivider = RCC_HCLK_DIV2;

  if (HAL_RCC_ClockConfig(&RCC_ClkInitStruct, FLASH_LATENCY_5) != HAL_OK)
  {
    Error_Handler();
  }

  /** Enables the Clock Security System
  */
  HAL_RCC_EnableCSS();
}

/**
  * @brief NVIC Configuration.
  * @retval None
  */
static void MX_NVIC_Init(void)
{
  /* DMA1_Stream0_IRQn interrupt configuration */
  HAL_NVIC_SetPriority(DMA1_Stream0_IRQn, 5, 0);
  HAL_NVIC_EnableIRQ(DMA1_Stream0_IRQn);
  /* DMA1_Stream1_IRQn interrupt configuration */
  HAL_NVIC_SetPriority(DMA1_Stream1_IRQn, 5, 0);
  HAL_NVIC_EnableIRQ(DMA1_Stream1_IRQn);
  /* DMA1_Stream2_IRQn interrupt configuration */
  HAL_NVIC_SetPriority(DMA1_Stream2_IRQn, 5, 0);
  HAL_NVIC_EnableIRQ(DMA1_Stream2_IRQn);
  /* DMA1_Stream3_IRQn interrupt configuration */
  HAL_NVIC_SetPriority(DMA1_Stream3_IRQn, 5, 0);
  HAL_NVIC_EnableIRQ(DMA1_Stream3_IRQn);
  /* DMA1_Stream4_IRQn interrupt configuration */
  HAL_NVIC_SetPriority(DMA1_Stream4_IRQn, 5, 0);
  HAL_NVIC_EnableIRQ(DMA1_Stream4_IRQn);
  /* DMA1_Stream5_IRQn interrupt configuration */
  HAL_NVIC_SetPriority(DMA1_Stream5_IRQn, 5, 0);
  HAL_NVIC_EnableIRQ(DMA1_Stream5_IRQn);
  /* DMA1_Stream6_IRQn interrupt configuration */
  HAL_NVIC_SetPriority(DMA1_Stream6_IRQn, 5, 0);
  HAL_NVIC_EnableIRQ(DMA1_Stream6_IRQn);
  /* TIM2_IRQn interrupt configuration */
  HAL_NVIC_SetPriority(TIM2_IRQn, 5, 0);
  HAL_NVIC_EnableIRQ(TIM2_IRQn);
  /* TIM3_IRQn interrupt configuration */
  HAL_NVIC_SetPriority(TIM3_IRQn, 5, 0);
  HAL_NVIC_EnableIRQ(TIM3_IRQn);
  /* TIM4_IRQn interrupt configuration */
  HAL_NVIC_SetPriority(TIM4_IRQn, 5, 0);
  HAL_NVIC_EnableIRQ(TIM4_IRQn);
  /* USART2_IRQn interrupt configuration */
  HAL_NVIC_SetPriority(USART2_IRQn, 5, 0);
  HAL_NVIC_EnableIRQ(USART2_IRQn);
  /* USART3_IRQn interrupt configuration */
  HAL_NVIC_SetPriority(USART3_IRQn, 5, 0);
  HAL_NVIC_EnableIRQ(USART3_IRQn);
  /* EXTI15_10_IRQn interrupt configuration */
  HAL_NVIC_SetPriority(EXTI15_10_IRQn, 5, 0);
  HAL_NVIC_EnableIRQ(EXTI15_10_IRQn);
  /* TIM8_BRK_TIM12_IRQn interrupt configuration */
  HAL_NVIC_SetPriority(TIM8_BRK_TIM12_IRQn, 5, 0);
  HAL_NVIC_EnableIRQ(TIM8_BRK_TIM12_IRQn);
  /* TIM8_UP_TIM13_IRQn interrupt configuration */
  HAL_NVIC_SetPriority(TIM8_UP_TIM13_IRQn, 5, 0);
  HAL_NVIC_EnableIRQ(TIM8_UP_TIM13_IRQn);
  /* DMA1_Stream7_IRQn interrupt configuration */
  HAL_NVIC_SetPriority(DMA1_Stream7_IRQn, 5, 0);
  HAL_NVIC_EnableIRQ(DMA1_Stream7_IRQn);
  /* TIM5_IRQn interrupt configuration */
  HAL_NVIC_SetPriority(TIM5_IRQn, 5, 0);
  HAL_NVIC_EnableIRQ(TIM5_IRQn);
  /* UART5_IRQn interrupt configuration */
  HAL_NVIC_SetPriority(UART5_IRQn, 5, 0);
  HAL_NVIC_EnableIRQ(UART5_IRQn);
  /* TIM7_IRQn interrupt configuration */
  HAL_NVIC_SetPriority(TIM7_IRQn, 5, 0);
  HAL_NVIC_EnableIRQ(TIM7_IRQn);
  /* USART6_IRQn interrupt configuration */
  HAL_NVIC_SetPriority(USART6_IRQn, 5, 0);
  HAL_NVIC_EnableIRQ(USART6_IRQn);
  /* OTG_HS_IRQn interrupt configuration */
  HAL_NVIC_SetPriority(OTG_HS_IRQn, 5, 0);
  HAL_NVIC_EnableIRQ(OTG_HS_IRQn);
}

void HAL_TIM_PeriodElapsedCallback(TIM_HandleTypeDef *htim)
{
  if (htim->Instance == TIM14) {
    HAL_IncTick();
  }
}

void Error_Handler(void)
{
    __disable_irq();
    while (1) {
    }
}

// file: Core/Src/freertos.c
/* USER CODE BEGIN Header */
/**
  ******************************************************************************
  * File Name          : freertos.c
  * Description        : Code for freertos applications
  ******************************************************************************
  * @attention
  *
  * <h2><center>&copy; Copyright (c) 2023 STMicroelectronics.
  * All rights reserved.</center></h2>
  *
  * This software component is licensed by ST under Ultimate Liberty license
  * SLA0044, the "License"; You may not use this file except in compliance with
  * the License. You may obtain a copy of the License at:
  *                             www.st.com/SLA0044
  *
  ******************************************************************************
  */
/* USER CODE END Header */

#include "FreeRTOS.h"
#include "task.h"
#include "main.h"
#include "cmsis_os.h"

/* USER CODE BEGIN Includes */
#include "lvgl.h"
/* USER CODE END Includes */

typedef StaticQueue_t osStaticMessageQDef_t;
typedef StaticTimer_t osStaticTimerDef_t;
typedef StaticSemaphore_t osStaticSemaphoreDef_t;
typedef StaticEventGroup_t osStaticEventGroupDef_t;

/* Definitions for defaultTask */
osThreadId_t defaultTaskHandle;
const osThreadAttr_t defaultTask_attributes = {
  .name = "defaultTask",
  .stack_size = 256 * 4,
  .priority = (osPriority_t) osPriorityBelowNormal,
};
/* Definitions for imu_task */
osThreadId_t imu_taskHandle;
const osThreadAttr_t imu_task_attributes = {
  .name = "imu_task",
  .stack_size = 256 * 4,
  .priority = (osPriority_t) osPriorityNormal,
};
/* Definitions for packet_tx_task */
osThreadId_t packet_tx_taskHandle;
const osThreadAttr_t packet_tx_task_attributes = {
  .name = "packet_tx_task",
  .stack_size = 256 * 4,
  .priority = (osPriority_t) osPriorityNormal,
};
/* Definitions for packet_rx_task */
osThreadId_t packet_rx_taskHandle;
const osThreadAttr_t packet_rx_task_attributes = {
  .name = "packet_rx_task",
  .stack_size = 256 * 4,
  .priority = (osPriority_t) osPriorityAboveNormal,
};
/* Definitions for sbus_rx_task */
osThreadId_t sbus_rx_taskHandle;
const osThreadAttr_t sbus_rx_task_attributes = {
  .name = "sbus_rx_task",
  .stack_size = 256 * 4,
  .priority = (osPriority_t) osPriorityNormal,
};
/* Definitions for gui_task */
osThreadId_t gui_taskHandle;
const osThreadAttr_t gui_task_attributes = {
  .name = "gui_task",
  .stack_size = 1500 * 4,
  .priority = (osPriority_t) osPriorityLow,
};
/* Definitions for app_task */
osThreadId_t app_taskHandle;
const osThreadAttr_t app_task_attributes = {
  .name = "app_task",
  .stack_size = 512 * 4,
  .priority = (osPriority_t) osPriorityNormal,
};
/* Definitions for bluetooth_task */
osThreadId_t bluetooth_taskHandle;
const osThreadAttr_t bluetooth_task_attributes = {
  .name = "bluetooth_task",
  .stack_size = 128 * 4,
  .priority = (osPriority_t) osPriorityNormal,
};
/* Definitions for packet_tx_queue */
osMessageQueueId_t packet_tx_queueHandle;
uint8_t packet_tx_queueBuffer[ 64 * sizeof( void* ) ];
osStaticMessageQDef_t packet_tx_queueControlBlock;
const osMessageQueueAttr_t packet_tx_queue_attributes = {
  .name = "packet_tx_queue",
  .cb_mem = &packet_tx_queueControlBlock,
  .cb_size = sizeof(packet_tx_queueControlBlock),
  .mq_mem = &packet_tx_queueBuffer,
  .mq_size = sizeof(packet_tx_queueBuffer)
};
/* Definitions for lvgl_event_queue */
osMessageQueueId_t lvgl_event_queueHandle;
const osMessageQueueAttr_t lvgl_event_queue_attributes = {
  .name = "lvgl_event_queue"
};
/* Definitions for moving_ctrl_queue */
osMessageQueueId_t moving_ctrl_queueHandle;
uint8_t moving_ctrl_queueBuffer[ 32 * sizeof( char ) ];
osStaticMessageQDef_t moving_ctrl_queueControlBlock;
const osMessageQueueAttr_t moving_ctrl_queue_attributes = {
  .name = "moving_ctrl_queue",
  .cb_mem = &moving_ctrl_queueControlBlock,
  .cb_size = sizeof(moving_ctrl_queueControlBlock),
  .mq_mem = &moving_ctrl_queueBuffer,
  .mq_size = sizeof(moving_ctrl_queueBuffer)
};
/* Definitions for bluetooth_tx_queue */
osMessageQueueId_t bluetooth_tx_queueHandle;
const osMessageQueueAttr_t bluetooth_tx_queue_attributes = {
  .name = "bluetooth_tx_queue"
};
/* Definitions for button_timer */
osTimerId_t button_timerHandle;
osStaticTimerDef_t button_timerControlBlock;
const osTimerAttr_t button_timer_attributes = {
  .name = "button_timer",
  .cb_mem = &button_timerControlBlock,
  .cb_size = sizeof(button_timerControlBlock),
};
/* Definitions for led_timer */
osTimerId_t led_timerHandle;
osStaticTimerDef_t led_timerControlBlock;
const osTimerAttr_t led_timer_attributes = {
  .name = "led_timer",
  .cb_mem = &led_timerControlBlock,
  .cb_size = sizeof(led_timerControlBlock),
};
/* Definitions for lvgl_timer */
osTimerId_t lvgl_timerHandle;
osStaticTimerDef_t lvgl_timerControlBlock;
const osTimerAttr_t lvgl_timer_attributes = {
  .name = "lvgl_timer",
  .cb_mem = &lvgl_timerControlBlock,
  .cb_size = sizeof(lvgl_timerControlBlock),
};
/* Definitions for buzzer_timer */
osTimerId_t buzzer_timerHandle;
osStaticTimerDef_t buzzer_timerControlBlock;
const osTimerAttr_t buzzer_timer_attributes = {
  .name = "buzzer_timer",
  .cb_mem = &buzzer_timerControlBlock,
  .cb_size = sizeof(buzzer_timerControlBlock),
};
/* Definitions for battery_check_timer */
osTimerId_t battery_check_timerHandle;
osStaticTimerDef_t battery_check_timerControlBlock;
const osTimerAttr_t battery_check_timer_attributes = {
  .name = "battery_check_timer",
  .cb_mem = &battery_check_timerControlBlock,
  .cb_size = sizeof(battery_check_timerControlBlock),
};
/* Definitions for packet_tx_idle */
osSemaphoreId_t packet_tx_idleHandle;
osStaticSemaphoreDef_t packet_tx_ControlBlock;
const osSemaphoreAttr_t packet_tx_idle_attributes = {
  .name = "packet_tx_idle",
  .cb_mem = &packet_tx_ControlBlock,
  .cb_size = sizeof(packet_tx_ControlBlock),
};
/* Definitions for packet_rx_not_empty */
osSemaphoreId_t packet_rx_not_emptyHandle;
osStaticSemaphoreDef_t packet_rx_not_emptyControlBlock;
const osSemaphoreAttr_t packet_rx_not_empty_attributes = {
  .name = "packet_rx_not_empty",
  .cb_mem = &packet_rx_not_emptyControlBlock,
  .cb_size = sizeof(packet_rx_not_emptyControlBlock),
};
/* Definitions for mpu6050_data_ready */
osSemaphoreId_t mpu6050_data_readyHandle;
osStaticSemaphoreDef_t mpu6050_data_readyControlBlock;
const osSemaphoreAttr_t mpu6050_data_ready_attributes = {
  .name = "mpu6050_data_ready",
  .cb_mem = &mpu6050_data_readyControlBlock,
  .cb_size = sizeof(mpu6050_data_readyControlBlock),
};
/* Definitions for sbus_data_ready_01_ */
osSemaphoreId_t sbus_data_ready_01_Handle;
osStaticSemaphoreDef_t sbus_data_ready_01_ControlBlock;
const osSemaphoreAttr_t sbus_data_ready_01__attributes = {
  .name = "sbus_data_ready_01_",
  .cb_mem = &sbus_data_ready_01_ControlBlock,
  .cb_size = sizeof(sbus_data_ready_01_ControlBlock),
};
/* Definitions for spi_tx_finished */
osSemaphoreId_t spi_tx_finishedHandle;
osStaticSemaphoreDef_t spi_tx_finishedControlBlock;
const osSemaphoreAttr_t spi_tx_finished_attributes = {
  .name = "spi_tx_finished",
  .cb_mem = &spi_tx_finishedControlBlock,
  .cb_size = sizeof(spi_tx_finishedControlBlock),
};
/* Definitions for bluetooth_tx_idle */
osSemaphoreId_t bluetooth_tx_idleHandle;
osStaticSemaphoreDef_t bluetooth_tx_idleControlBlock;
const osSemaphoreAttr_t bluetooth_tx_idle_attributes = {
  .name = "bluetooth_tx_idle",
  .cb_mem = &bluetooth_tx_idleControlBlock,
  .cb_size = sizeof(bluetooth_tx_idleControlBlock),
};
/* Definitions for serial_servo_rx_complete */
osSemaphoreId_t serial_servo_rx_completeHandle;
const osSemaphoreAttr_t serial_servo_rx_complete_attributes = {
  .name = "serial_servo_rx_complete"
};
/* Definitions for sbus_data_ready_event_ */
osEventFlagsId_t sbus_data_ready_event_Handle;
osStaticEventGroupDef_t sbus_data_ready_event_ControlBlock;
const osEventFlagsAttr_t sbus_data_ready_event__attributes = {
  .name = "sbus_data_ready_event_",
  .cb_mem = &sbus_data_ready_event_ControlBlock,
  .cb_size = sizeof(sbus_data_ready_event_ControlBlock),
};

void StartDefaultTask(void *argument);
void imu_task_entry(void *argument);
void packet_tx_task_entry(void *argument);
void packet_rx_task_entry(void *argument);
void sbus_rx_task_entry(void *argument);
void gui_task_entry(void *argument);
void app_task_entry(void *argument);
void bluetooth_task_entry(void *argument);
void button_timer_callback(void *argument);
void led_timer_callback(void *argument);
void lvgl_timer_callback(void *argument);
void buzzer_timer_callback(void *argument);
void battery_check_timer_callback(void *argument);

extern void MX_USB_HOST_Init(void);
void MX_FREERTOS_Init(void); /* (MISRA C 2004 rule 8.1) */

/* Hook prototypes */
void vApplicationIdleHook(void);
void vApplicationTickHook(void);

/* USER CODE BEGIN 2 */
void vApplicationIdleHook( void )
{
    /* vApplicationIdleHook() will only be called if configUSE_IDLE_HOOK is set
    to 1 in FreeRTOSConfig.h. It will be called on each iteration of the idle
    task. It is essential that code added to this hook function never attempts
    to block in any way (for example, call xQueueReceive() with a block time
    specified, or call vTaskDelay()). If the application makes use of the
    vTaskDelete() API function (as this demo application does) then it is also
    important that vApplicationIdleHook() is permitted to return to its calling
    function, because it is the responsibility of the idle task to clean up
    memory allocated by the kernel to any task that has since been deleted. */
}
/* USER CODE END 2 */

/* USER CODE BEGIN 3 */
void vApplicationTickHook( void )
{
    /* This function will be called by each tick interrupt if
    configUSE_TICK_HOOK is set to 1 in FreeRTOSConfig.h. User code can be
    added here, but the tick hook is called from an interrupt context, so
    code must not attempt to block, and only the interrupt safe FreeRTOS API
    functions can be used (those that end in FromISR()). */
    lv_tick_inc(1);
}
/* USER CODE END 3 */

void MX_FREERTOS_Init(void) {

  /* Create the semaphores(s) */
  /* creation of packet_tx_idle */
  packet_tx_idleHandle = osSemaphoreNew(1, 1, &packet_tx_idle_attributes);

  /* creation of packet_rx_not_empty */
  packet_rx_not_emptyHandle = osSemaphoreNew(1, 1, &packet_rx_not_empty_attributes);

  /* creation of mpu6050_data_ready */
  mpu6050_data_readyHandle = osSemaphoreNew(1, 1, &mpu6050_data_ready_attributes);

  /* creation of sbus_data_ready_01_ */
  sbus_data_ready_01_Handle = osSemaphoreNew(1, 1, &sbus_data_ready_01__attributes);

  /* creation of spi_tx_finished */
  spi_tx_finishedHandle = osSemaphoreNew(1, 1, &spi_tx_finished_attributes);

  /* creation of bluetooth_tx_idle */
  bluetooth_tx_idleHandle = osSemaphoreNew(1, 1, &bluetooth_tx_idle_attributes);

  /* creation of serial_servo_rx_complete */
  serial_servo_rx_completeHandle = osSemaphoreNew(1, 1, &serial_servo_rx_complete_attributes);

  /* Create the timer(s) */
  /* creation of button_timer */
  button_timerHandle = osTimerNew(button_timer_callback, osTimerPeriodic, NULL, &button_timer_attributes);

  /* creation of led_timer */
  led_timerHandle = osTimerNew(led_timer_callback, osTimerPeriodic, NULL, &led_timer_attributes);

  /* creation of lvgl_timer */
  lvgl_timerHandle = osTimerNew(lvgl_timer_callback, osTimerPeriodic, NULL, &lvgl_timer_attributes);

  /* creation of buzzer_timer */
  buzzer_timerHandle = osTimerNew(buzzer_timer_callback, osTimerPeriodic, NULL, &buzzer_timer_attributes);

  /* creation of battery_check_timer */
  battery_check_timerHandle = osTimerNew(battery_check_timer_callback, osTimerPeriodic, NULL, &battery_check_timer_attributes);

  /* Create the queue(s) */
  /* creation of packet_tx_queue */
  packet_tx_queueHandle = osMessageQueueNew (64, sizeof(void*), &packet_tx_queue_attributes);

  /* creation of lvgl_event_queue */
  lvgl_event_queueHandle = osMessageQueueNew (16, 32, &lvgl_event_queue_attributes);

  /* creation of moving_ctrl_queue */
  moving_ctrl_queueHandle = osMessageQueueNew (32, sizeof(char), &moving_ctrl_queue_attributes);

  /* creation of bluetooth_tx_queue */
  bluetooth_tx_queueHandle = osMessageQueueNew (8, 8, &bluetooth_tx_queue_attributes);

  /* Create the thread(s) */
  /* creation of defaultTask */
  defaultTaskHandle = osThreadNew(StartDefaultTask, NULL, &defaultTask_attributes);

  /* creation of imu_task */
  imu_taskHandle = osThreadNew(imu_task_entry, NULL, &imu_task_attributes);

  /* creation of packet_tx_task */
  packet_tx_taskHandle = osThreadNew(packet_tx_task_entry, NULL, &packet_tx_task_attributes);

  /* creation of packet_rx_task */
  packet_rx_taskHandle = osThreadNew(packet_rx_task_entry, NULL, &packet_rx_task_attributes);

  /* creation of sbus_rx_task */
  sbus_rx_taskHandle = osThreadNew(sbus_rx_task_entry, NULL, &sbus_rx_task_attributes);

  /* creation of gui_task */
  gui_taskHandle = osThreadNew(gui_task_entry, NULL, &gui_task_attributes);

  /* creation of app_task */
  app_taskHandle = osThreadNew(app_task_entry, NULL, &app_task_attributes);

  /* creation of bluetooth_task */
  bluetooth_taskHandle = osThreadNew(bluetooth_task_entry, NULL, &bluetooth_task_attributes);

  /* Create the event(s) */
  /* creation of sbus_data_ready_event_ */
  sbus_data_ready_event_Handle = osEventFlagsNew(&sbus_data_ready_event__attributes);

}

void StartDefaultTask(void *argument)
{
  /* init code for USB_HOST */
  MX_USB_HOST_Init();
    for(;;) {
        osDelay(1);
    }
}

__weak void imu_task_entry(void *argument)
{
    for(;;) {
        osDelay(1);
    }
}

__weak void packet_tx_task_entry(void *argument)
{
    for(;;) {
        osDelay(1);
    }
}

__weak void packet_rx_task_entry(void *argument)
{
    for(;;) {
        osDelay(1);
    }
}

__weak void sbus_rx_task_entry(void *argument)
{
    for(;;) {
        osDelay(1);
    }
}

__weak void gui_task_entry(void *argument)
{
  for(;;)
  {
    osDelay(1);
  }
}

__weak void app_task_entry(void *argument)
{
  for(;;)
  {
    osDelay(1);
  }
}

__weak void bluetooth_task_entry(void *argument)
{
  for(;;)
  {
    osDelay(1);
  }
}

/* button_timer_callback function */
__weak void button_timer_callback(void *argument)
{
}

/* led_timer_callback function */
__weak void led_timer_callback(void *argument)
{
}

/* lvgl_timer_callback function */
__weak void lvgl_timer_callback(void *argument)
{
}

/* buzzer_timer_callback function */
__weak void buzzer_timer_callback(void *argument)
{
}

/* battery_check_timer_callback function */
__weak void battery_check_timer_callback(void *argument)
{
}
